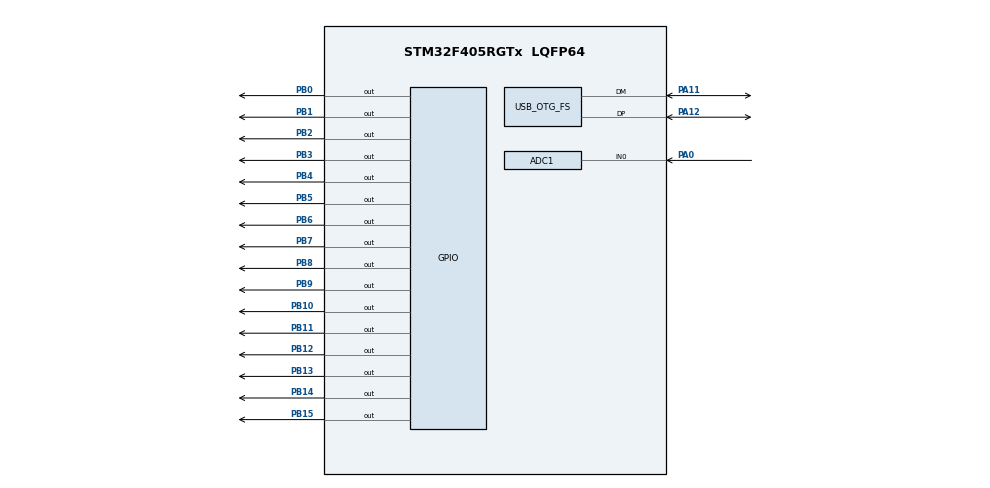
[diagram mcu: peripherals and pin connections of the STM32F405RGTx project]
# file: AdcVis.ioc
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ADC1.Channel-0\#ChannelRegularConversion=ADC_CHANNEL_0
ADC1.NbrOfConversionFlag=1
ADC1.Rank-0\#ChannelRegularConversion=1
ADC1.SamplingTime-0\#ChannelRegularConversion=ADC_SAMPLETIME_480CYCLES
ADC1.master=1
Mcu.Family=STM32F4
Mcu.Name=STM32F405RGTx
Mcu.Package=LQFP64
NVIC.OTG_FS_IRQn=true\:0\:0\:false\:false\:true\:false\:true\:true
NVIC.PriorityGroup=NVIC_PRIORITYGROUP_4
PA0-WKUP.Signal=ADCx_IN0
PA11.Mode=Device_Only
PA11.Signal=USB_OTG_FS_DM
PA12.Mode=Device_Only
PA12.Signal=USB_OTG_FS_DP
PA13.Mode=Serial_Wire
PA13.Signal=SYS_JTMS-SWDIO
PA14.Mode=Serial_Wire
PA14.Signal=SYS_JTCK-SWCLK
PB0.Signal=GPIO_Output
PB1.Signal=GPIO_Output
PB10.Signal=GPIO_Output
PB11.Signal=GPIO_Output
PB12.Signal=GPIO_Output
PB13.Signal=GPIO_Output
PB14.Signal=GPIO_Output
PB15.Signal=GPIO_Output
PB2.Signal=GPIO_Output
PB3.Signal=GPIO_Output
PB4.Signal=GPIO_Output
PB5.Signal=GPIO_Output
PB6.Signal=GPIO_Output
PB7.Signal=GPIO_Output
PB8.Signal=GPIO_Output
PB9.Signal=GPIO_Output
PH0-OSC_IN.Mode=HSE-External-Oscillator
PH0-OSC_IN.Signal=RCC_OSC_IN
PH1-OSC_OUT.Mode=HSE-External-Oscillator
PH1-OSC_OUT.Signal=RCC_OSC_OUT
ProjectManager.HeapSize=0x200
ProjectManager.StackSize=0x400
ProjectManager.TargetToolchain=STM32CubeIDE
RCC.48MHZClocksFreq_Value=48000000
RCC.AHBFreq_Value=168000000
RCC.APB1CLKDivider=RCC_HCLK_DIV4
RCC.APB1Freq_Value=42000000
RCC.APB1TimFreq_Value=84000000
RCC.APB2CLKDivider=RCC_HCLK_DIV2
RCC.APB2Freq_Value=84000000
RCC.APB2TimFreq_Value=168000000
RCC.CortexFreq_Value=168000000
RCC.HCLKFreq_Value=168000000
RCC.HSE_VALUE=16000000
RCC.HSI_VALUE=16000000
RCC.LSE_VALUE=32768
RCC.PLLM=8
RCC.PLLN=168
RCC.PLLQ=7
RCC.SYSCLKFreq_VALUE=168000000
RCC.SYSCLKSource=RCC_SYSCLKSOURCE_PLLCLK
RCC.VCOOutputFreq_Value=336000000
SH.ADCx_IN0.0=ADC1_IN0,IN0
USB_DEVICE.CLASS_NAME_FS=CDC
USB_DEVICE.VirtualMode-CDC_FS=Cdc
USB_DEVICE.VirtualModeFS=Cdc_FS
USB_OTG_FS.VirtualMode=Device_Only
VP_USB_DEVICE_VS_USB_DEVICE_CDC_FS.Mode=CDC_FS
board=custom

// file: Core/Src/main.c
/* USER CODE BEGIN Header */
/**
  ******************************************************************************
  * @file           : main.c
  * @brief          : Main program body
  ******************************************************************************
  * @attention
  *
  * Copyright (c) 2025 STMicroelectronics.
  * All rights reserved.
  *
  * This software is licensed under terms that can be found in the LICENSE file
  * in the root directory of this software component.
  * If no LICENSE file comes with this software, it is provided AS-IS.
  *
  ******************************************************************************
  */
/* USER CODE END Header */
#include "main.h"
#include "usb_device.h"

/* USER CODE BEGIN Includes */
#include "usbd_cdc_if.h"
/* USER CODE END Includes */

/* USER CODE BEGIN PD */
#define USBBUF_MAXLEN 128
/* USER CODE END PD */

void SystemClock_Config(void);
static void MX_GPIO_Init(void);
static void MX_ADC1_Init(void);

/* USER CODE BEGIN 0 */
uint8_t usbTxBuf[USBBUF_MAXLEN];
uint8_t usbRxBuf[USBBUF_MAXLEN];

uint16_t usbTxBufLen = 0;
uint16_t usbRxBufLen = 0;

uint8_t  usbRxFlag 	 = 0;

void USB_RXCallback(uint8_t* Buf, uint32_t *Len) {

	memcpy(usbRxBuf, Buf, *Len);
	usbRxBufLen = *Len;
	usbRxFlag = 1;

}
/* USER CODE END 0 */

int main(void)
{

  /* MCU Configuration--------------------------------------------------------*/

  /* Reset of all peripherals, Initializes the Flash interface and the Systick. */
  HAL_Init();

  /* Configure the system clock */
  SystemClock_Config();

  /* Initialize all configured peripherals */
  MX_GPIO_Init();
  MX_ADC1_Init();
  MX_USB_DEVICE_Init();

  /* Infinite loop */
  /* USER CODE BEGIN WHILE */

  // Follow https://youtu.be/kDaQO_x8auk?si=l_U3NRmKQmfKEMqJ for USB CDC setup

  LL_ADC_Enable(ADC1);
  uint32_t usbTxTime = 0;

  while (1)
  {
	  uint32_t timeNowMS = HAL_GetTick();

	  LL_ADC_INJ_StartConversionSWStart(ADC1);
	  uint16_t adcValue = LL_ADC_INJ_ReadConversionData12(ADC1, LL_ADC_INJ_RANK_1);

	  // 0 <= adcValue <= 4095 -> 16 leds
	  double prod = adcValue * 15.0;
	  uint8_t led = (int)(prod / 4095 + 0.5);

	  // Reset GPIOB
	  GPIOB->BSRR = 0xffff << 16;
      // Set pin according to led
	  GPIOB->BSRR = (1 << led);

    /* USER CODE END WHILE */

    /* USER CODE BEGIN 3 */
	  if(timeNowMS - usbTxTime > 500) {
		  usbTxTime = timeNowMS;

		  usbTxBufLen = snprintf((char *) usbTxBuf, USBBUF_MAXLEN, "[%02lu:%02lu] %u\r\n", (timeNowMS / 60000), (timeNowMS / 1000) % 60, adcValue);

		  CDC_Transmit_FS(usbTxBuf, usbTxBufLen);

	  }

	  if (usbRxFlag && usbRxBufLen) {

		  // Echo incoming data
		  CDC_Transmit_FS(usbRxBuf, usbRxBufLen);

		  for(uint8_t i = 0; i < usbRxBufLen; ++i) {

			  // Reset GPIOB
			  GPIOB->BSRR = 0xffff << 16;
		      // Set all pins
			  GPIOB->BSRR = 0xffff;

			  LL_mDelay(100);

			  // Reset GPIOB
			  GPIOB->BSRR = 0xffff << 16;

			  LL_mDelay(100);
		  }

		  usbRxFlag = 0;
		  usbRxBufLen = 0;

	  }
  }
  /* USER CODE END 3 */
}

void SystemClock_Config(void)
{
  LL_FLASH_SetLatency(LL_FLASH_LATENCY_5);
  while(LL_FLASH_GetLatency()!= LL_FLASH_LATENCY_5)
  {
  }
  LL_PWR_SetRegulVoltageScaling(LL_PWR_REGU_VOLTAGE_SCALE1);
  LL_RCC_HSE_Enable();

   /* Wait till HSE is ready */
  while(LL_RCC_HSE_IsReady() != 1)
  {

  }
  LL_RCC_PLL_ConfigDomain_SYS(LL_RCC_PLLSOURCE_HSE, LL_RCC_PLLM_DIV_8, 168, LL_RCC_PLLP_DIV_2);
  LL_RCC_PLL_ConfigDomain_48M(LL_RCC_PLLSOURCE_HSE, LL_RCC_PLLM_DIV_8, 168, LL_RCC_PLLQ_DIV_7);
  LL_RCC_PLL_Enable();

   /* Wait till PLL is ready */
  while(LL_RCC_PLL_IsReady() != 1)
  {

  }
  while (LL_PWR_IsActiveFlag_VOS() == 0)
  {
  }
  LL_RCC_SetAHBPrescaler(LL_RCC_SYSCLK_DIV_1);
  LL_RCC_SetAPB1Prescaler(LL_RCC_APB1_DIV_4);
  LL_RCC_SetAPB2Prescaler(LL_RCC_APB2_DIV_2);
  LL_RCC_SetSysClkSource(LL_RCC_SYS_CLKSOURCE_PLL);

   /* Wait till System clock is ready */
  while(LL_RCC_GetSysClkSource() != LL_RCC_SYS_CLKSOURCE_STATUS_PLL)
  {

  }
  LL_SetSystemCoreClock(168000000);

   /* Update the time base */
  if (HAL_InitTick (TICK_INT_PRIORITY) != HAL_OK)
  {
    Error_Handler();
  }
}

static void MX_ADC1_Init(void)
{

  LL_ADC_InitTypeDef ADC_InitStruct = {0};
  LL_ADC_REG_InitTypeDef ADC_REG_InitStruct = {0};
  LL_ADC_CommonInitTypeDef ADC_CommonInitStruct = {0};

  LL_GPIO_InitTypeDef GPIO_InitStruct = {0};

  /* Peripheral clock enable */
  LL_APB2_GRP1_EnableClock(LL_APB2_GRP1_PERIPH_ADC1);

  LL_AHB1_GRP1_EnableClock(LL_AHB1_GRP1_PERIPH_GPIOA);
  /**ADC1 GPIO Configuration
  PA0-WKUP   ------> ADC1_IN0
  */
  GPIO_InitStruct.Pin = LL_GPIO_PIN_0;
  GPIO_InitStruct.Mode = LL_GPIO_MODE_ANALOG;
  GPIO_InitStruct.Pull = LL_GPIO_PULL_NO;
  LL_GPIO_Init(GPIOA, &GPIO_InitStruct);

  /** Common config
  */
  ADC_InitStruct.Resolution = LL_ADC_RESOLUTION_12B;
  ADC_InitStruct.DataAlignment = LL_ADC_DATA_ALIGN_RIGHT;
  ADC_InitStruct.SequencersScanMode = LL_ADC_SEQ_SCAN_DISABLE;
  LL_ADC_Init(ADC1, &ADC_InitStruct);
  ADC_REG_InitStruct.TriggerSource = LL_ADC_REG_TRIG_SOFTWARE;
  ADC_REG_InitStruct.SequencerLength = LL_ADC_REG_SEQ_SCAN_DISABLE;
  ADC_REG_InitStruct.SequencerDiscont = LL_ADC_REG_SEQ_DISCONT_DISABLE;
  ADC_REG_InitStruct.ContinuousMode = LL_ADC_REG_CONV_SINGLE;
  ADC_REG_InitStruct.DMATransfer = LL_ADC_REG_DMA_TRANSFER_NONE;
  LL_ADC_REG_Init(ADC1, &ADC_REG_InitStruct);
  LL_ADC_REG_SetFlagEndOfConversion(ADC1, LL_ADC_REG_FLAG_EOC_UNITARY_CONV);
  ADC_CommonInitStruct.CommonClock = LL_ADC_CLOCK_SYNC_PCLK_DIV4;
  ADC_CommonInitStruct.Multimode = LL_ADC_MULTI_INDEPENDENT;
  LL_ADC_CommonInit(__LL_ADC_COMMON_INSTANCE(ADC1), &ADC_CommonInitStruct);

  /** Configure Regular Channel
  */
  LL_ADC_REG_SetSequencerRanks(ADC1, LL_ADC_REG_RANK_1, LL_ADC_CHANNEL_0);
  LL_ADC_SetChannelSamplingTime(ADC1, LL_ADC_CHANNEL_0, LL_ADC_SAMPLINGTIME_480CYCLES);

}

static void MX_GPIO_Init(void)
{
  LL_GPIO_InitTypeDef GPIO_InitStruct = {0};

  /* GPIO Ports Clock Enable */
  LL_AHB1_GRP1_EnableClock(LL_AHB1_GRP1_PERIPH_GPIOH);
  LL_AHB1_GRP1_EnableClock(LL_AHB1_GRP1_PERIPH_GPIOA);
  LL_AHB1_GRP1_EnableClock(LL_AHB1_GRP1_PERIPH_GPIOB);

  /**/
  LL_GPIO_ResetOutputPin(GPIOB, LL_GPIO_PIN_0|LL_GPIO_PIN_1|LL_GPIO_PIN_2|LL_GPIO_PIN_10
                          |LL_GPIO_PIN_11|LL_GPIO_PIN_12|LL_GPIO_PIN_13|LL_GPIO_PIN_14
                          |LL_GPIO_PIN_15|LL_GPIO_PIN_3|LL_GPIO_PIN_4|LL_GPIO_PIN_5
                          |LL_GPIO_PIN_6|LL_GPIO_PIN_7|LL_GPIO_PIN_8|LL_GPIO_PIN_9);

  /**/
  GPIO_InitStruct.Pin = LL_GPIO_PIN_0|LL_GPIO_PIN_1|LL_GPIO_PIN_2|LL_GPIO_PIN_10
                          |LL_GPIO_PIN_11|LL_GPIO_PIN_12|LL_GPIO_PIN_13|LL_GPIO_PIN_14
                          |LL_GPIO_PIN_15|LL_GPIO_PIN_3|LL_GPIO_PIN_4|LL_GPIO_PIN_5
                          |LL_GPIO_PIN_6|LL_GPIO_PIN_7|LL_GPIO_PIN_8|LL_GPIO_PIN_9;
  GPIO_InitStruct.Mode = LL_GPIO_MODE_OUTPUT;
  GPIO_InitStruct.Speed = LL_GPIO_SPEED_FREQ_LOW;
  GPIO_InitStruct.OutputType = LL_GPIO_OUTPUT_PUSHPULL;
  GPIO_InitStruct.Pull = LL_GPIO_PULL_NO;
  LL_GPIO_Init(GPIOB, &GPIO_InitStruct);

}

void Error_Handler(void)
{
  __disable_irq();
  while (1)
  {
  }
}
